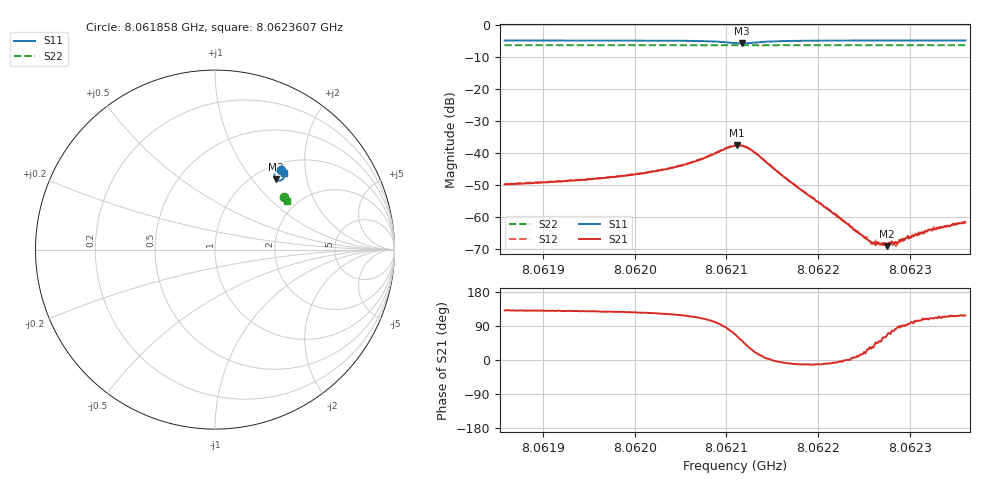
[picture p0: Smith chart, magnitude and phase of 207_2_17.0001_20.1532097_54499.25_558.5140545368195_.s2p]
#  HZ  S  RI  R  50.00
! Rohde & Schwarz Vector Network Analyzer
! Rohde-Schwarz,ZNB20-2Port,1311601062101988,3.16
! Created: UTC 3/20/2024, 11:01:18 PM
! freq[Hz]  re:S11  im:S11  re:S21  im:S21  re:S12  im:S12  re:S22  im:S22
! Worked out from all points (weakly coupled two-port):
!   401 points, 8.061858 GHz to 8.0623607 GHz, reference 50 ohm
!   highest |S21| = -37.60 dB at 8.0621119 GHz (marker M1); lowest = -69.1 dB at 8.0622752 GHz (marker M2)
!   lowest |S11| = -5.7 dB at 8.0621169 GHz (marker M3), VSWR 3.15, Z = 62.1 + j66.5 ohm
!   |S11| at or under -10 dB: nowhere
!   |S22| runs from -6.3 to -6.3 dB; largest |S21 - S12| = 0.001
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8.06185799e9  0.3672 0.4435  -0.00211 0.00244  -0.00203 0.0026  0.3872 0.2948
8.06194219e9  0.3737 0.4375  -0.00237 0.00298  -0.00221 0.00313  0.39 0.2905
8.06199246e9  0.3781 0.4325  -0.00265 0.00361  -0.00243 0.00377  0.3918 0.288
8.0620264e9  0.3816 0.4272  -0.00288 0.00449  -0.00264 0.00469  0.393 0.2861
8.06206033e9  0.3853 0.4175  -0.00297 0.00631  -0.00262 0.00654  0.394 0.2841
8.06209049e9  0.3817 0.3974  -0.0013 0.0101  -0.000678 0.0105  0.3947 0.2818
8.06210934e9  0.3557 0.3846  0.00495 0.0121  0.00582 0.0119  0.3938 0.2809
8.06211186e9  0.3501 0.3857  0.00618 0.0116  0.00705 0.0113  0.3937 0.2808
8.06211688e9  0.34 0.3913  0.0083 0.0101  0.00901 0.00944  0.3935 0.281
8.06212442e9  0.3314 0.4056  0.00982 0.00641  0.0103 0.00592  0.3936 0.2815
8.06213322e9  0.3326 0.4219  0.00909 0.003  0.00941 0.00237  0.3941 0.2817
8.06216841e9  0.357 0.4395  0.00361 -0.000578  0.00359 -0.000772  0.3966 0.2803
8.06219355e9  0.3659 0.4387  0.00197 -0.000429  0.00193 -0.000536  0.3977 0.279
8.06222245e9  0.3721 0.4364  0.000968 -8.48e-05  0.00099 -0.000143  0.3988 0.2775
8.06225764e9  0.377 0.4338  0.00035 0.000199  0.000341 0.000186  0.4001 0.2758
8.06227524e9  0.379 0.4326  0.000143 0.000319  0.00014 0.000352  0.4008 0.2748
8.06227775e9  0.3793 0.4325  0.000132 0.000376  0.000124 0.000349  0.4007 0.2746
8.06228655e9  0.38 0.4318  2.95e-05 0.000381  6.78e-05 0.000408  0.4011 0.2742
8.0622966e9  0.381 0.4312  -1.68e-05 0.000467  -1.76e-05 0.000482  0.4014 0.2738
8.06232425e9  0.3834 0.4293  -0.000212 0.000588  -0.00019 0.000581  0.4023 0.2723
8.06234813e9  0.3853 0.4279  -0.000345 0.000697  -0.000324 0.000693  0.4031 0.2712
8.0623607e9  0.3862 0.4272  -0.000379 0.000733  -0.00034 0.000714  0.4035 0.2702
